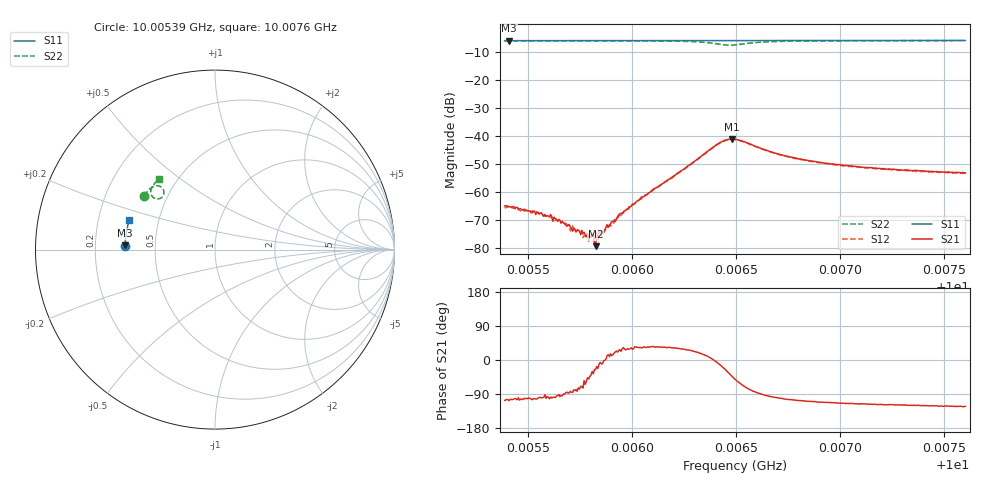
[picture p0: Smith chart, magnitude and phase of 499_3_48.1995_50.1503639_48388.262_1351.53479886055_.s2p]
#  HZ  S  RI  R  50.00
! Rohde & Schwarz Vector Network Analyzer
! Rohde-Schwarz,ZNB20-2Port,1311601062101988,3.16
! Created: UTC 3/20/2024, 11:58:30 AM
! freq[Hz]  re:S11  im:S11  re:S21  im:S21  re:S12  im:S12  re:S22  im:S22
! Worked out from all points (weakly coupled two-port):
!   401 points, 10.00539 GHz to 10.0076 GHz, reference 50 ohm
!   highest |S21| = -41.07 dB at 10.00648 GHz (marker M1); lowest = -79.3 dB at 10.00583 GHz (marker M2)
!   lowest |S11| = -6.0 dB at 10.00541 GHz (marker M3), VSWR 3.01, Z = 16.6 + j1.05 ohm
!   |S11| at or under -10 dB: nowhere
!   |S22| runs from -7.6 to -6.0 dB; largest |S21 - S12| = 0.00054
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1.0005389e10  -0.5005 0.0222  -0.000161 -0.000545  -0.000115 -0.000527  -0.395 0.2999
1.0005411e10  -0.5002 0.0237  -0.000164 -0.000527  -0.000124 -0.000512  -0.3942 0.3012
1.000556e10  -0.5001 0.0334  -6.28e-05 -0.000409  -5.54e-05 -0.000419  -0.3878 0.3101
1.0005604e10  -0.5 0.0363  -7.96e-05 -0.000361  -3.21e-05 -0.000365  -0.3859 0.3127
1.0005721e10  -0.4995 0.0438  4.56e-05 -0.000225  2.59e-05 -0.000198  -0.3804 0.3197
1.0005759e10  -0.4996 0.0464  7.25e-05 -0.000194  6.23e-05 -0.000195  -0.3782 0.3222
1.0005776e10  -0.4993 0.0473  7.45e-05 -0.000156  0.000109 -0.000118  -0.3774 0.3232
1.0005792e10  -0.4993 0.0485  8.56e-05 -0.000102  0.000103 -0.000132  -0.3764 0.3242
1.0005826e10  -0.499 0.0505  9.81e-05 -4.61e-05  0.000149 -4.81e-05  -0.3746 0.3264
1.0005831e10  -0.4992 0.051  0.000174 -5.4e-05  0.000176 -6.19e-05  -0.3743 0.3268
1.0005842e10  -0.4991 0.0518  0.00018 -3.41e-05  0.000191 1.36e-05  -0.3739 0.3274
1.000587e10  -0.499 0.0535  0.00021 -2.25e-06  0.000203 -1.18e-05  -0.3722 0.3291
1.0005942e10  -0.4986 0.0582  0.000364 0.000188  0.000361 0.000156  -0.3676 0.3339
1.0006047e10  -0.4978 0.065  0.000702 0.000434  0.000617 0.00045  -0.3599 0.3411
1.000613e10  -0.4972 0.0703  0.00106 0.000725  0.000991 0.000739  -0.3519 0.3469
1.0006412e10  -0.4943 0.0884  0.00713 -0.000988  0.00701 -0.00058  -0.2864 0.3309
1.0006478e10  -0.4936 0.0922  0.00658 -0.00591  0.00679 -0.00542  -0.2994 0.2886
1.0006495e10  -0.4935 0.0931  0.00556 -0.00679  0.00584 -0.00633  -0.3103 0.2835
1.0006689e10  -0.4921 0.1054  -0.000752 -0.00488  -0.000533 -0.00484  -0.3581 0.3244
1.0006866e10  -0.49 0.1167  -0.0012 -0.00337  -0.00102 -0.00334  -0.3507 0.3481
1.0007236e10  -0.4847 0.1402  -0.0012 -0.00226  -0.00108 -0.00228  -0.3308 0.3746
1.0007601e10  -0.4783 0.1628  -0.00117 -0.00186  -0.00109 -0.00186  -0.312 0.3936
